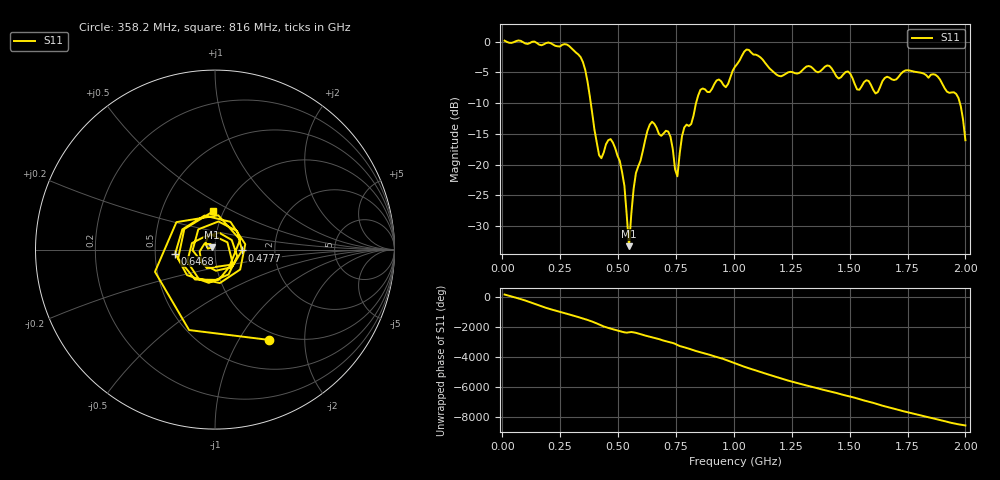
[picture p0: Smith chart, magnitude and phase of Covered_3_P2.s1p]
!Created with skrf (http://scikit-rf.org).
# Hz S RI R 50.0
!freq ReS11 ImS11
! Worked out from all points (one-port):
!   201 points, 10 MHz to 2 GHz, reference 50 ohm
!   lowest |S11| = -33.3 dB at 547.3 MHz (marker M1), VSWR 1.04, Z = 48.2 + j1.14 ohm
!   |S11| at or under -10 dB: 382.1 MHz to 836.8 MHz (454.7 MHz wide, 74.6 % of centre); 1.976 GHz to end of sweep
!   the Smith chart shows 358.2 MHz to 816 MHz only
!   S11 on the Smith chart (normalised r, x): 358.2 MHz: 0.88, -1.36; 477.6 MHz: 1.35, -0.01; 646.8 MHz: 0.64, -0.03; 816 MHz: 0.90, +0.40
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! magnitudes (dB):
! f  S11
! 10 MHz  0.1
! 258.8 MHz  -0.5
! 358.2 MHz  -4.6
! 417.9 MHz  -18.5
! 477.6 MHz  -16.4
! 507.5 MHz  -19.4
! 527.4 MHz  -23.5
! 547.3 MHz  -33.3
! 577.1 MHz  -21.4
! 646.8 MHz  -13.0
! 716.5 MHz  -14.6
! 756.2 MHz  -21.9
! 786.1 MHz  -14.0
! 816 MHz  -13.4
! 855.8 MHz  -7.8
! 965.2 MHz  -7.4
! 1.005 GHz  -4.1
! 1.055 GHz  -1.3
! 1.194 GHz  -5.6
! 1.254 GHz  -5.0
! 1.502 GHz  -5.2
! 1.532 GHz  -7.8
! 1.572 GHz  -6.3
! 1.612 GHz  -8.4
! 1.751 GHz  -4.7
! 1.96 GHz  -8.5
! 1.98 GHz  -10.5
! 2 GHz  -16.1
